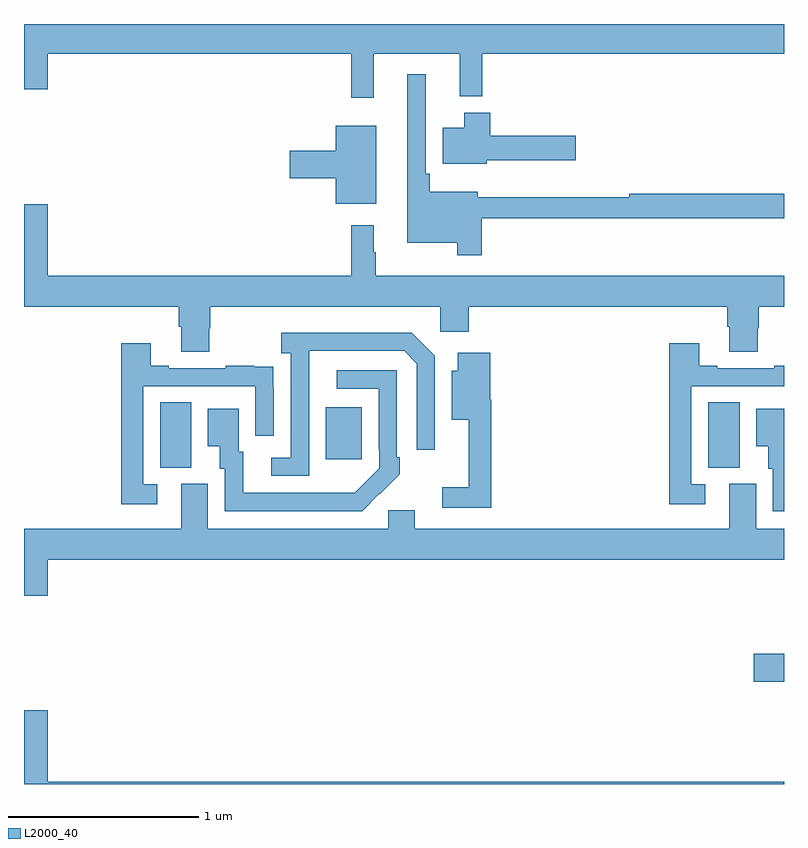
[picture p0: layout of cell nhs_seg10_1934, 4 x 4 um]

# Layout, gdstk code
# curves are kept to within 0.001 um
import gdstk
lib = gdstk.Library(unit=1e-6, precision=1e-09)
def R(c, l, rs):  # rectangles x0, y0, x1, y1
    for r in rs: c.add(gdstk.rectangle(r[:2], r[2:], *l))
def P(c, l, *ps):  # polygons
    for p in ps: c.add(gdstk.Polygon(p, *l))
L2000_40 = (2000, 40)

nhs_seg10_1934 = lib.new_cell('nhs_seg10_1934')
R(nhs_seg10_1934, L2000_40, [(216.84,1269.038,217,1269.185), (213.716,1270.165,213.88,1270.508), (216.602,1270.165,216.766,1270.508), (214.589,1270.209,214.777,1270.483)])
P(nhs_seg10_1934, L2000_40, [(214.841,1272.344),(215.294,1272.344),(215.294,1272.119),(215.411,1272.119),(215.411,1272.344),(217,1272.344),(217,1272.5),(213,1272.5),(213,1272.156),(213.124,1272.156),(213.124,1272.344),(214.723,1272.344),(214.723,1272.111),(214.841,1272.111)],
  [(215.408,1271.478),(217,1271.478),(217,1271.606),(216.185,1271.606),(216.185,1271.588),(215.389,1271.588),(215.389,1271.617),(215.135,1271.617),(215.135,1271.713),(215.115,1271.713),(215.115,1272.235),(215.018,1272.235),(215.018,1271.348),(215.28,1271.348),(215.28,1271.283),(215.408,1271.283)],
  [(215.436,1271.783),(215.905,1271.783),(215.905,1271.913),(215.453,1271.913),(215.453,1272.034),(215.318,1272.034),(215.318,1271.953),(215.204,1271.953),(215.204,1271.765),(215.436,1271.765)],
  [(214.855,1271.965),(214.64,1271.965),(214.64,1271.834),(214.398,1271.834),(214.398,1271.687),(214.64,1271.687),(214.64,1271.555),(214.855,1271.555)],
  [(213.975,1270.899),(213.98,1270.899),(213.98,1271.012),(215.19,1271.012),(215.19,1270.881),(215.342,1270.881),(215.342,1271.012),(216.701,1271.012),(216.701,1270.906),(216.713,1270.906),(216.713,1270.774),(216.861,1270.774),(216.861,1270.899),(216.866,1270.899),(216.866,1271.012),(217,1271.012),(217,1271.176),(214.852,1271.176),(214.852,1271.3),(214.84,1271.3),(214.84,1271.44),(214.723,1271.44),(214.723,1271.176),(213.124,1271.176),(213.124,1271.551),(213,1271.551),(213,1271.012),(213.815,1271.012),(213.815,1270.906),(213.827,1270.906),(213.827,1270.774),(213.975,1270.774)],
  [(214.5,1270.579),(214.501,1270.779),(215.001,1270.779),(215.067,1270.713),(215.067,1270.26),(215.163,1270.26),(215.163,1270.755),(215.042,1270.876),(214.353,1270.876),(214.353,1270.766),(214.404,1270.766),(214.404,1270.218),(214.302,1270.218),(214.302,1270.122),(214.5,1270.122)],
  [(213.7,1270.077),(213.627,1270.077),(213.627,1270.593),(214.218,1270.593),(214.218,1270.332),(214.314,1270.332),(214.314,1270.586),(214.313,1270.586),(214.313,1270.695),(214.211,1270.695),(214.211,1270.702),(214.063,1270.702),(214.063,1270.689),(213.763,1270.689),(213.763,1270.702),(213.667,1270.702),(213.667,1270.819),(213.511,1270.819),(213.511,1269.972),(213.7,1269.972)],
  [(216.586,1270.077),(216.513,1270.077),(216.513,1270.593),(217,1270.593),(217,1270.702),(216.949,1270.702),(216.949,1270.689),(216.649,1270.689),(216.649,1270.702),(216.553,1270.702),(216.553,1270.819),(216.397,1270.819),(216.397,1269.972),(216.586,1269.972)],
  [(215.459,1270.522),(215.453,1270.522),(215.453,1270.771),(215.282,1270.771),(215.282,1270.675),(215.252,1270.675),(215.252,1270.418),(215.342,1270.418),(215.342,1270.063),(215.202,1270.063),(215.202,1269.954),(215.459,1269.954)],
  [(214.871,1270.027),(214.872,1270.026),(214.977,1270.131),(214.977,1270.219),(214.962,1270.219),(214.962,1270.677),(214.647,1270.677),(214.647,1270.581),(214.866,1270.581),(214.866,1270.261),(214.869,1270.261),(214.869,1270.161),(214.741,1270.033),(214.153,1270.032),(214.153,1270.248),(214.129,1270.248),(214.129,1270.474),(213.968,1270.474),(213.968,1270.277),(214.031,1270.277),(214.031,1270.158),(214.056,1270.158),(214.056,1269.936),(214.78,1269.936)],
  [(217,1270.474),(216.854,1270.474),(216.854,1270.277),(216.917,1270.277),(216.917,1270.158),(216.942,1270.158),(216.942,1269.936),(217,1269.936)],
  [(213.124,1269.68),(217,1269.68),(217,1269.844),(216.853,1269.844),(216.853,1270.08),(216.713,1270.08),(216.713,1269.844),(215.056,1269.844),(215.056,1269.942),(214.917,1269.942),(214.917,1269.844),(213.967,1269.844),(213.967,1270.08),(213.827,1270.08),(213.827,1269.844),(213,1269.844),(213,1269.492),(213.124,1269.492)],
  [(217,1268.512),(213.124,1268.512),(213.124,1268.887),(213,1268.887),(213,1268.5),(217,1268.5)])

lib.write_gds('nhs_seg10_1934.gds')
